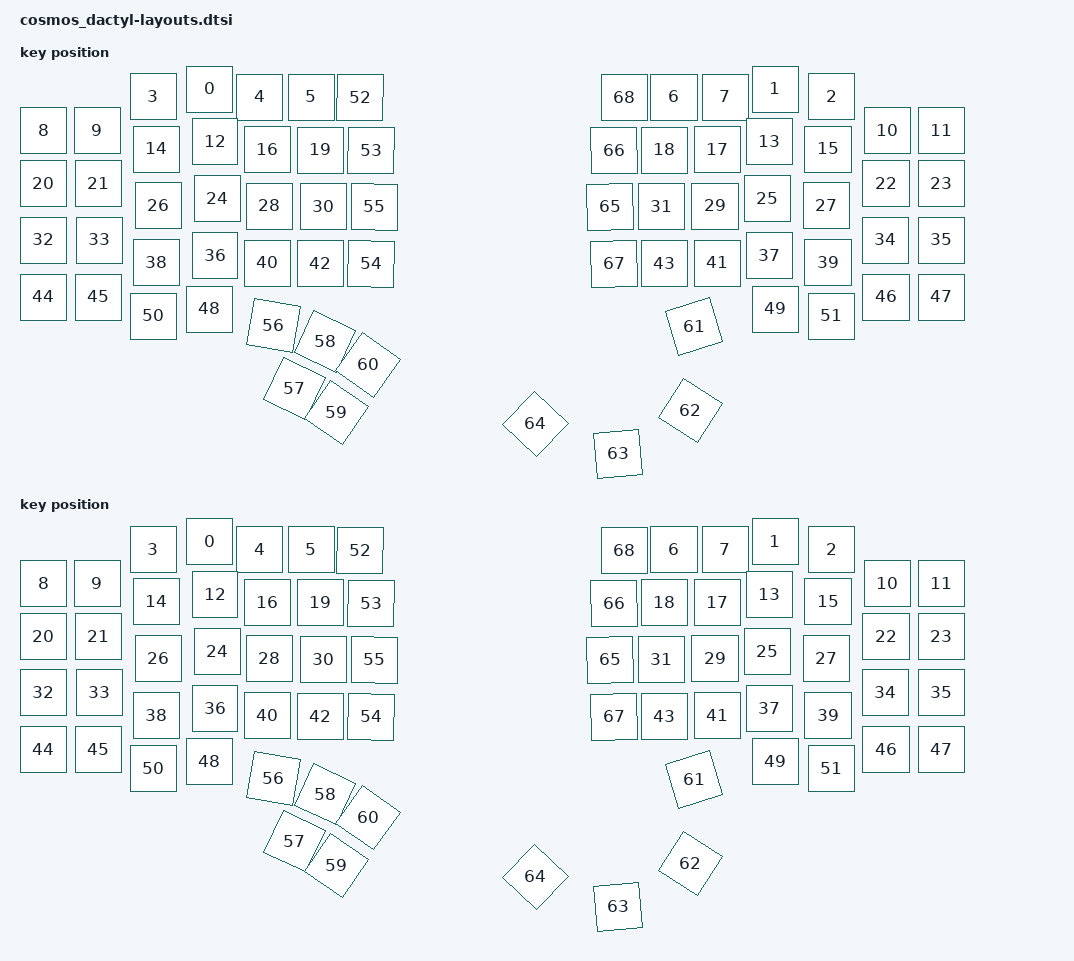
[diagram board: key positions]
#include <physical_layouts.dtsi>

/ {
    /*
     * Preserved dactyl physical layout (69 keys). Disabled for now because
     * ZMK Studio requires the keymap to use physical-layout positions, and the
     * current keymap is written for a 7x14 matrix (98 logical positions).
     * Re-enable this and provide a matching 69-position keymap + transform to
     * get the real dactyl shape in ZMK Studio.
     */
    layout_dactyl: layout_dactyl {
        compatible = "zmk,physical-layout";
        status = "disabled";
        display-name = "Dactyl";
        transform = <&default_transform>;

        keys  //                     w   h    x    y     rot    rx    ry
            = <&key_physical_attrs 100 100  333    0       0     0     0>
            , <&key_physical_attrs 100 100 1464    0       0     0     0>
            , <&key_physical_attrs 100 100 1577   15       0     0     0>
            , <&key_physical_attrs 100 100  220   15       0     0     0>
            , <&key_physical_attrs 100 100  433   16       0     0     0>
            , <&key_physical_attrs 100 100  536   16       0     0     0>
            , <&key_physical_attrs 100 100 1262   16       0     0     0>
            , <&key_physical_attrs 100 100 1364   16       0     0     0>
            , <&key_physical_attrs 100 100    1   83       0     0     0>
            , <&key_physical_attrs 100 100  108   83       0     0     0>
            , <&key_physical_attrs 100 100 1689   83       0     0     0>
            , <&key_physical_attrs 100 100 1797   83       0     0     0>
            , <&key_physical_attrs 100 100  344  105       0     0     0>
            , <&key_physical_attrs 100 100 1453  105       0     0     0>
            , <&key_physical_attrs 100 100  227  120       0     0     0>
            , <&key_physical_attrs 100 100 1570  120       0     0     0>
            , <&key_physical_attrs 100 100  448  121       0     0     0>
            , <&key_physical_attrs 100 100 1349  121       0     0     0>
            , <&key_physical_attrs 100 100 1243  122       0     0     0>
            , <&key_physical_attrs 100 100  554  122       0     0     0>
            , <&key_physical_attrs 100 100    0  189       0     0     0>
            , <&key_physical_attrs 100 100  111  189       0     0     0>
            , <&key_physical_attrs 100 100 1686  189       0     0     0>
            , <&key_physical_attrs 100 100 1797  189       0     0     0>
            , <&key_physical_attrs 100 100  348  219       0     0     0>
            , <&key_physical_attrs 100 100 1449  219       0     0     0>
            , <&key_physical_attrs 100 100  230  233       0     0     0>
            , <&key_physical_attrs 100 100 1567  233       0     0     0>
            , <&key_physical_attrs 100 100  453  234       0     0     0>
            , <&key_physical_attrs 100 100 1344  234       0     0     0>
            , <&key_physical_attrs 100 100  560  235       0     0     0>
            , <&key_physical_attrs 100 100 1237  235       0     0     0>
            , <&key_physical_attrs 100 100    0  302       0     0     0>
            , <&key_physical_attrs 100 100  113  302       0     0     0>
            , <&key_physical_attrs 100 100 1685  302       0     0     0>
            , <&key_physical_attrs 100 100 1797  302       0     0     0>
            , <&key_physical_attrs 100 100  344  333       0     0     0>
            , <&key_physical_attrs 100 100 1453  333       0     0     0>
            , <&key_physical_attrs 100 100  227  347       0     0     0>
            , <&key_physical_attrs 100 100 1570  347       0     0     0>
            , <&key_physical_attrs 100 100  448  348       0     0     0>
            , <&key_physical_attrs 100 100 1349  348       0     0     0>
            , <&key_physical_attrs 100 100  554  349       0     0     0>
            , <&key_physical_attrs 100 100 1243  349       0     0     0>
            , <&key_physical_attrs 100 100    0  416       0     0     0>
            , <&key_physical_attrs 100 100  111  416       0     0     0>
            , <&key_physical_attrs 100 100 1686  416       0     0     0>
            , <&key_physical_attrs 100 100 1797  416       0     0     0>
            , <&key_physical_attrs 100 100  333  440       0     0     0>
            , <&key_physical_attrs 100 100 1464  440       0     0     0>
            , <&key_physical_attrs 100 100  220  454       0     0     0>
            , <&key_physical_attrs 100 100 1577  454       0     0     0>
            , <&key_physical_attrs 100 100  634   17     100   684    67>
            , <&key_physical_attrs 100 100  656  123     100   706   173>
            , <&key_physical_attrs 100 100  656  350     100   706   400>
            , <&key_physical_attrs 100 100  663  236     100   713   286>
            , <&key_physical_attrs 100 100  461  473    1000   511   523>
            , <&key_physical_attrs 100 100  503  599    2500   553   649>
            , <&key_physical_attrs 100 100  564  505    2500   614   555>
            , <&key_physical_attrs 100 100  587  647    3500   637   697>
            , <&key_physical_attrs 100 100  650  552    3500   700   602>
            , <&key_physical_attrs 100 100 1302  475    7300  1352   525>
            , <&key_physical_attrs 100 100 1295  643   12300  1345   693>
            , <&key_physical_attrs 100 100 1150  730   17500  1200   780>
            , <&key_physical_attrs 100 100  985  670 (-13600)  1035   720>
            , <&key_physical_attrs 100 100 1134  236  (-100)  1184   286>
            , <&key_physical_attrs 100 100 1142  123  (-100)  1192   173>
            , <&key_physical_attrs 100 100 1142  350  (-100)  1192   400>
            , <&key_physical_attrs 100 100 1163   17  (-100)  1213    67>
            ;
    };

    /*
     * Interim 7x14 grid physical layout. This matches the existing matrix-based
     * keymap so ZMK Studio can build without rewriting the keymap. The visual
     * representation in Studio will be a plain grid rather than the dactyl
     * shape. Replace this with the real dactyl layout above once a 69-position
     * keymap is created.
     */
    layout_0: layout_0 {
        compatible = "zmk,physical-layout";
        display-name = "Matrix Grid";
        transform = <&default_transform>;

        keys  //                     w   h    x    y     rot    rx    ry
            = <&key_physical_attrs 100 100  333    0       0     0     0>
            , <&key_physical_attrs 100 100 1464    0       0     0     0>
            , <&key_physical_attrs 100 100 1577   15       0     0     0>
            , <&key_physical_attrs 100 100  220   15       0     0     0>
            , <&key_physical_attrs 100 100  433   16       0     0     0>
            , <&key_physical_attrs 100 100  536   16       0     0     0>
            , <&key_physical_attrs 100 100 1262   16       0     0     0>
            , <&key_physical_attrs 100 100 1364   16       0     0     0>
            , <&key_physical_attrs 100 100    1   83       0     0     0>
            , <&key_physical_attrs 100 100  108   83       0     0     0>
            , <&key_physical_attrs 100 100 1689   83       0     0     0>
            , <&key_physical_attrs 100 100 1797   83       0     0     0>
            , <&key_physical_attrs 100 100  344  105       0     0     0>
            , <&key_physical_attrs 100 100 1453  105       0     0     0>
            , <&key_physical_attrs 100 100  227  120       0     0     0>
            , <&key_physical_attrs 100 100 1570  120       0     0     0>
            , <&key_physical_attrs 100 100  448  121       0     0     0>
            , <&key_physical_attrs 100 100 1349  121       0     0     0>
            , <&key_physical_attrs 100 100 1243  122       0     0     0>
            , <&key_physical_attrs 100 100  554  122       0     0     0>
            , <&key_physical_attrs 100 100    0  189       0     0     0>
            , <&key_physical_attrs 100 100  111  189       0     0     0>
            , <&key_physical_attrs 100 100 1686  189       0     0     0>
            , <&key_physical_attrs 100 100 1797  189       0     0     0>
            , <&key_physical_attrs 100 100  348  219       0     0     0>
            , <&key_physical_attrs 100 100 1449  219       0     0     0>
            , <&key_physical_attrs 100 100  230  233       0     0     0>
            , <&key_physical_attrs 100 100 1567  233       0     0     0>
            , <&key_physical_attrs 100 100  453  234       0     0     0>
            , <&key_physical_attrs 100 100 1344  234       0     0     0>
            , <&key_physical_attrs 100 100  560  235       0     0     0>
            , <&key_physical_attrs 100 100 1237  235       0     0     0>
            , <&key_physical_attrs 100 100    0  302       0     0     0>
            , <&key_physical_attrs 100 100  113  302       0     0     0>
            , <&key_physical_attrs 100 100 1685  302       0     0     0>
            , <&key_physical_attrs 100 100 1797  302       0     0     0>
            , <&key_physical_attrs 100 100  344  333       0     0     0>
            , <&key_physical_attrs 100 100 1453  333       0     0     0>
            , <&key_physical_attrs 100 100  227  347       0     0     0>
            , <&key_physical_attrs 100 100 1570  347       0     0     0>
            , <&key_physical_attrs 100 100  448  348       0     0     0>
            , <&key_physical_attrs 100 100 1349  348       0     0     0>
            , <&key_physical_attrs 100 100  554  349       0     0     0>
            , <&key_physical_attrs 100 100 1243  349       0     0     0>
            , <&key_physical_attrs 100 100    0  416       0     0     0>
            , <&key_physical_attrs 100 100  111  416       0     0     0>
            , <&key_physical_attrs 100 100 1686  416       0     0     0>
            , <&key_physical_attrs 100 100 1797  416       0     0     0>
            , <&key_physical_attrs 100 100  333  440       0     0     0>
            , <&key_physical_attrs 100 100 1464  440       0     0     0>
            , <&key_physical_attrs 100 100  220  454       0     0     0>
            , <&key_physical_attrs 100 100 1577  454       0     0     0>
            , <&key_physical_attrs 100 100  634   17     100   684    67>
            , <&key_physical_attrs 100 100  656  123     100   706   173>
            , <&key_physical_attrs 100 100  656  350     100   706   400>
            , <&key_physical_attrs 100 100  663  236     100   713   286>
            , <&key_physical_attrs 100 100  461  473    1000   511   523>
            , <&key_physical_attrs 100 100  503  599    2500   553   649>
            , <&key_physical_attrs 100 100  564  505    2500   614   555>
            , <&key_physical_attrs 100 100  587  647    3500   637   697>
            , <&key_physical_attrs 100 100  650  552    3500   700   602>
            , <&key_physical_attrs 100 100 1302  475    7300  1352   525>
            , <&key_physical_attrs 100 100 1295  643   12300  1345   693>
            , <&key_physical_attrs 100 100 1150  730   17500  1200   780>
            , <&key_physical_attrs 100 100  985  670 (-13600)  1035   720>
            , <&key_physical_attrs 100 100 1134  236  (-100)  1184   286>
            , <&key_physical_attrs 100 100 1142  123  (-100)  1192   173>
            , <&key_physical_attrs 100 100 1142  350  (-100)  1192   400>
            , <&key_physical_attrs 100 100 1163   17  (-100)  1213    67>
            ;
    };
};
